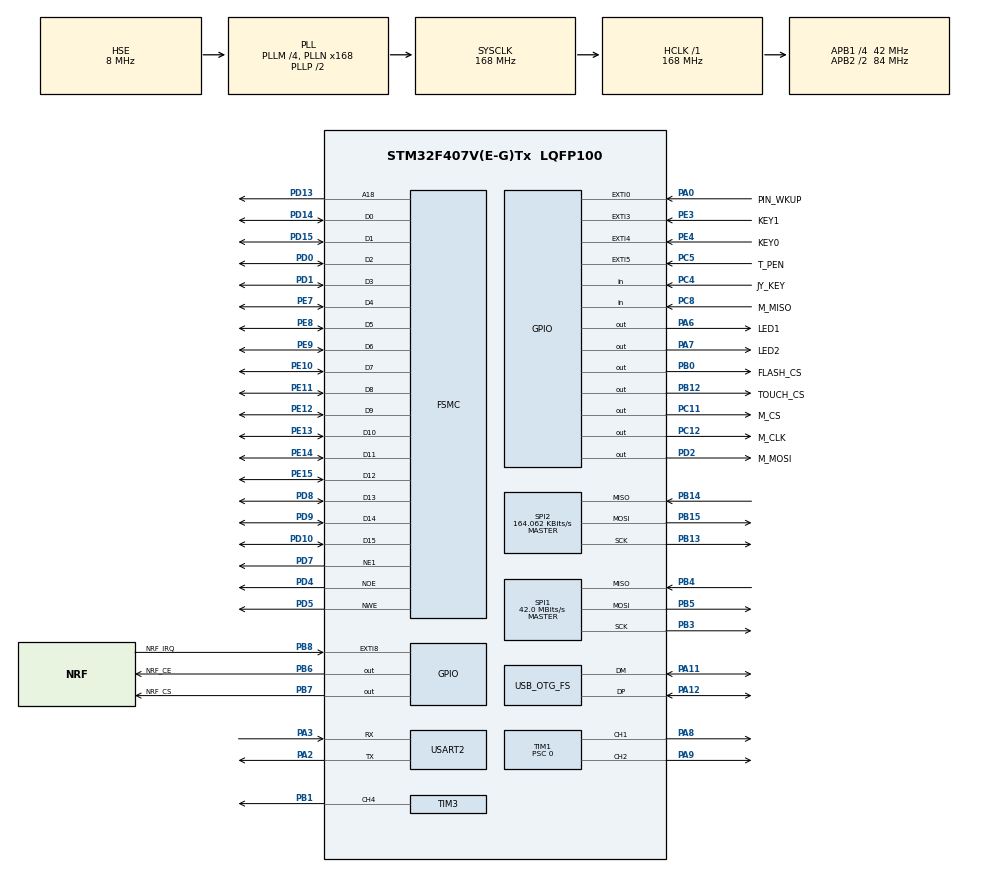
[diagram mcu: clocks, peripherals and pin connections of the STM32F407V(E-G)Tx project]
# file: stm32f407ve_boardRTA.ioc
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Dma.MEMTOMEM.2.Direction=DMA_MEMORY_TO_MEMORY
Dma.MEMTOMEM.2.FIFOMode=DMA_FIFOMODE_ENABLE
Dma.MEMTOMEM.2.FIFOThreshold=DMA_FIFO_THRESHOLD_FULL
Dma.MEMTOMEM.2.Instance=DMA2_Stream3
Dma.MEMTOMEM.2.MemBurst=DMA_MBURST_SINGLE
Dma.MEMTOMEM.2.MemDataAlignment=DMA_MDATAALIGN_HALFWORD
Dma.MEMTOMEM.2.MemInc=DMA_MINC_DISABLE
Dma.MEMTOMEM.2.Mode=DMA_NORMAL
Dma.MEMTOMEM.2.PeriphBurst=DMA_PBURST_SINGLE
Dma.MEMTOMEM.2.PeriphDataAlignment=DMA_PDATAALIGN_HALFWORD
Dma.MEMTOMEM.2.PeriphInc=DMA_PINC_ENABLE
Dma.MEMTOMEM.2.Priority=DMA_PRIORITY_LOW
Dma.MEMTOMEM.3.Direction=DMA_MEMORY_TO_MEMORY
Dma.MEMTOMEM.3.FIFOMode=DMA_FIFOMODE_ENABLE
Dma.MEMTOMEM.3.FIFOThreshold=DMA_FIFO_THRESHOLD_FULL
Dma.MEMTOMEM.3.Instance=DMA2_Stream4
Dma.MEMTOMEM.3.MemBurst=DMA_MBURST_SINGLE
Dma.MEMTOMEM.3.MemDataAlignment=DMA_MDATAALIGN_HALFWORD
Dma.MEMTOMEM.3.MemInc=DMA_MINC_DISABLE
Dma.MEMTOMEM.3.Mode=DMA_NORMAL
Dma.MEMTOMEM.3.PeriphBurst=DMA_PBURST_SINGLE
Dma.MEMTOMEM.3.PeriphDataAlignment=DMA_PDATAALIGN_HALFWORD
Dma.MEMTOMEM.3.PeriphInc=DMA_PINC_DISABLE
Dma.MEMTOMEM.3.Priority=DMA_PRIORITY_LOW
Dma.Request0=TIM1_CH1
Dma.Request1=TIM1_CH2
Dma.Request2=MEMTOMEM
Dma.Request3=MEMTOMEM
Dma.TIM1_CH1.0.Direction=DMA_MEMORY_TO_PERIPH
Dma.TIM1_CH1.0.FIFOMode=DMA_FIFOMODE_ENABLE
Dma.TIM1_CH1.0.FIFOThreshold=DMA_FIFO_THRESHOLD_FULL
Dma.TIM1_CH1.0.Instance=DMA2_Stream1
Dma.TIM1_CH1.0.MemBurst=DMA_MBURST_SINGLE
Dma.TIM1_CH1.0.MemDataAlignment=DMA_MDATAALIGN_HALFWORD
Dma.TIM1_CH1.0.MemInc=DMA_MINC_ENABLE
Dma.TIM1_CH1.0.Mode=DMA_CIRCULAR
Dma.TIM1_CH1.0.PeriphBurst=DMA_PBURST_SINGLE
Dma.TIM1_CH1.0.PeriphDataAlignment=DMA_PDATAALIGN_HALFWORD
Dma.TIM1_CH1.0.PeriphInc=DMA_PINC_DISABLE
Dma.TIM1_CH1.0.Priority=DMA_PRIORITY_HIGH
Dma.TIM1_CH2.1.Direction=DMA_MEMORY_TO_PERIPH
Dma.TIM1_CH2.1.FIFOMode=DMA_FIFOMODE_ENABLE
Dma.TIM1_CH2.1.FIFOThreshold=DMA_FIFO_THRESHOLD_FULL
Dma.TIM1_CH2.1.Instance=DMA2_Stream2
Dma.TIM1_CH2.1.MemBurst=DMA_MBURST_SINGLE
Dma.TIM1_CH2.1.MemDataAlignment=DMA_MDATAALIGN_HALFWORD
Dma.TIM1_CH2.1.MemInc=DMA_MINC_ENABLE
Dma.TIM1_CH2.1.Mode=DMA_CIRCULAR
Dma.TIM1_CH2.1.PeriphBurst=DMA_PBURST_SINGLE
Dma.TIM1_CH2.1.PeriphDataAlignment=DMA_PDATAALIGN_HALFWORD
Dma.TIM1_CH2.1.PeriphInc=DMA_PINC_DISABLE
Dma.TIM1_CH2.1.Priority=DMA_PRIORITY_HIGH
FATFS._FS_EXFAT=0
FATFS._FS_RPATH=1
FATFS._USE_FORWARD=0
FATFS._USE_LFN=3
FSMC.AccessMode1=FSMC_ACCESS_MODE_A
FSMC.AddressSetupTime1=1
FSMC.BusTurnAroundDuration1=0
FSMC.DataSetupTime1=15
FSMC.ExtendedAddressSetupTime1=2
FSMC.ExtendedBusTurnAroundDuration1=0
FSMC.ExtendedDataSetupTime1=5
FSMC.ExtendedMode1=FSMC_EXTENDED_MODE_ENABLE
Mcu.Family=STM32F4
Mcu.Name=STM32F407V(E-G)Tx
Mcu.Package=LQFP100
NVIC.DMA2_Stream1_IRQn=true\:0\:0\:false\:true\:true\:2\:false
NVIC.DMA2_Stream2_IRQn=true\:0\:0\:false\:true\:true\:3\:false
NVIC.EXTI0_IRQn=true\:0\:0\:true\:false\:true\:true
NVIC.EXTI3_IRQn=true\:0\:0\:true\:false\:true\:true
NVIC.EXTI4_IRQn=true\:0\:0\:true\:false\:true\:true
NVIC.EXTI9_5_IRQn=true\:0\:0\:true\:false\:true\:true
NVIC.OTG_FS_IRQn=true\:0\:0\:true\:false\:true\:false
NVIC.PriorityGroup=NVIC_PRIORITYGROUP_4
NVIC.TIM2_IRQn=true\:0\:0\:false\:false\:true\:false
NVIC.TIM3_IRQn=true\:0\:0\:true\:true\:true\:4\:true
NVIC.TimeBase=TIM2_IRQn
NVIC.TimeBaseIP=TIM2
PA0-WKUP.GPIO_Label=PIN_WKUP
PA0-WKUP.GPIO_PuPd=GPIO_PULLDOWN
PA0-WKUP.Signal=GPXTI0
PA11.Mode=Host_Only
PA11.Signal=USB_OTG_FS_DM
PA12.Mode=Host_Only
PA12.Signal=USB_OTG_FS_DP
PA13.Mode=Serial_Wire
PA13.Signal=SYS_JTMS-SWDIO
PA14.Mode=Serial_Wire
PA14.Signal=SYS_JTCK-SWCLK
PA2.Mode=Asynchronous
PA2.Signal=USART2_TX
PA3.Mode=Asynchronous
PA3.Signal=USART2_RX
PA6.GPIO_Label=LED1
PA6.GPIO_ModeDefaultOutputPP=GPIO_MODE_OUTPUT_OD
PA6.Signal=GPIO_Output
PA7.GPIO_Label=LED2
PA7.GPIO_ModeDefaultOutputPP=GPIO_MODE_OUTPUT_OD
PA7.Signal=GPIO_Output
PA8.GPIO_ModeDefaultPP=GPIO_MODE_AF_PP
PA8.GPIO_Speed=GPIO_SPEED_FREQ_HIGH
PA8.Signal=S_TIM1_CH1
PA9.GPIO_ModeDefaultPP=GPIO_MODE_AF_PP
PA9.GPIO_Speed=GPIO_SPEED_FREQ_HIGH
PA9.Signal=S_TIM1_CH2
PB0.GPIO_Label=FLASH_CS
PB0.Signal=GPIO_Output
PB1.Signal=S_TIM3_CH4
PB12.GPIO_Label=TOUCH_CS
PB12.GPIO_Speed=GPIO_SPEED_FREQ_VERY_HIGH
PB12.PinState=GPIO_PIN_SET
PB12.Signal=GPIO_Output
PB13.Mode=Full_Duplex_Master
PB13.Signal=SPI2_SCK
PB14.Mode=Full_Duplex_Master
PB14.Signal=SPI2_MISO
PB15.Mode=Full_Duplex_Master
PB15.Signal=SPI2_MOSI
PB3.Mode=Full_Duplex_Master
PB3.Signal=SPI1_SCK
PB4.Mode=Full_Duplex_Master
PB4.Signal=SPI1_MISO
PB5.Mode=Full_Duplex_Master
PB5.Signal=SPI1_MOSI
PB6.GPIO_Label=NRF_CE
PB6.Signal=GPIO_Output
PB7.GPIO_Label=NRF_CS
PB7.Signal=GPIO_Output
PB8.GPIO_Label=NRF_IRQ
PB8.GPIO_ModeDefaultEXTI=GPIO_MODE_IT_FALLING
PB8.GPIO_PuPd=GPIO_PULLUP
PB8.Signal=GPXTI8
PC11.GPIO_Label=M_CS
PC11.GPIO_Speed=GPIO_SPEED_FREQ_VERY_HIGH
PC11.Signal=GPIO_Output
PC12.GPIO_Label=M_CLK
PC12.GPIO_Speed=GPIO_SPEED_FREQ_VERY_HIGH
PC12.Signal=GPIO_Output
PC14-OSC32_IN.Mode=LSE-External-Oscillator
PC14-OSC32_IN.Signal=RCC_OSC32_IN
PC15-OSC32_OUT.Mode=LSE-External-Oscillator
PC15-OSC32_OUT.Signal=RCC_OSC32_OUT
PC4.GPIO_Label=JY_KEY
PC4.GPIO_PuPd=GPIO_PULLUP
PC4.Signal=GPIO_Input
PC5.GPIO_Label=T_PEN
PC5.GPIO_ModeDefaultEXTI=GPIO_MODE_IT_FALLING
PC5.GPIO_PuPd=GPIO_PULLUP
PC5.Signal=GPXTI5
PC8.GPIO_Label=M_MISO
PC8.Signal=GPIO_Input
PD0.GPIO_Speed_High_Default=GPIO_SPEED_FREQ_HIGH
PD0.Mode=16b-d1
PD0.Signal=FSMC_D2
PD1.GPIO_Speed_High_Default=GPIO_SPEED_FREQ_HIGH
PD1.Mode=16b-d1
PD1.Signal=FSMC_D3
PD10.GPIO_Speed_High_Default=GPIO_SPEED_FREQ_HIGH
PD10.Mode=16b-d1
PD10.Signal=FSMC_D15
PD13.GPIO_Speed_High_Default=GPIO_SPEED_FREQ_HIGH
PD13.Mode=A18_1
PD13.Signal=FSMC_A18
PD14.GPIO_Speed_High_Default=GPIO_SPEED_FREQ_HIGH
PD14.Mode=16b-d1
PD14.Signal=FSMC_D0
PD15.GPIO_Speed_High_Default=GPIO_SPEED_FREQ_HIGH
PD15.Mode=16b-d1
PD15.Signal=FSMC_D1
PD2.GPIO_Label=M_MOSI
PD2.GPIO_Speed=GPIO_SPEED_FREQ_VERY_HIGH
PD2.Signal=GPIO_Output
PD4.GPIO_Speed_High_Default=GPIO_SPEED_FREQ_HIGH
PD4.Mode=Lcd1
PD4.Signal=FSMC_NOE
PD5.GPIO_Speed_High_Default=GPIO_SPEED_FREQ_HIGH
PD5.Mode=Lcd1
PD5.Signal=FSMC_NWE
PD7.GPIO_Speed_High_Default=GPIO_SPEED_FREQ_HIGH
PD7.Mode=NorPsramChipSelect1_1
PD7.Signal=FSMC_NE1
PD8.GPIO_Speed_High_Default=GPIO_SPEED_FREQ_HIGH
PD8.Mode=16b-d1
PD8.Signal=FSMC_D13
PD9.GPIO_Speed_High_Default=GPIO_SPEED_FREQ_HIGH
PD9.Mode=16b-d1
PD9.Signal=FSMC_D14
PE10.GPIO_Speed_High_Default=GPIO_SPEED_FREQ_HIGH
PE10.Mode=16b-d1
PE10.Signal=FSMC_D7
PE11.GPIO_Speed_High_Default=GPIO_SPEED_FREQ_HIGH
PE11.Mode=16b-d1
PE11.Signal=FSMC_D8
PE12.GPIO_Speed_High_Default=GPIO_SPEED_FREQ_HIGH
PE12.Mode=16b-d1
PE12.Signal=FSMC_D9
PE13.GPIO_Speed_High_Default=GPIO_SPEED_FREQ_HIGH
PE13.Mode=16b-d1
PE13.Signal=FSMC_D10
PE14.GPIO_Speed_High_Default=GPIO_SPEED_FREQ_HIGH
PE14.Mode=16b-d1
PE14.Signal=FSMC_D11
PE15.GPIO_Speed_High_Default=GPIO_SPEED_FREQ_HIGH
PE15.Mode=16b-d1
PE15.Signal=FSMC_D12
PE3.GPIO_Label=KEY1
PE3.GPIO_ModeDefaultEXTI=GPIO_MODE_IT_FALLING
PE3.GPIO_PuPd=GPIO_PULLUP
PE3.Signal=GPXTI3
PE4.GPIO_Label=KEY0
PE4.GPIO_ModeDefaultEXTI=GPIO_MODE_IT_FALLING
PE4.GPIO_PuPd=GPIO_PULLUP
PE4.Signal=GPXTI4
PE7.GPIO_Speed_High_Default=GPIO_SPEED_FREQ_HIGH
PE7.Mode=16b-d1
PE7.Signal=FSMC_D4
PE8.GPIO_Speed_High_Default=GPIO_SPEED_FREQ_HIGH
PE8.Mode=16b-d1
PE8.Signal=FSMC_D5
PE9.GPIO_Speed_High_Default=GPIO_SPEED_FREQ_HIGH
PE9.Mode=16b-d1
PE9.Signal=FSMC_D6
PH0-OSC_IN.Mode=HSE-External-Oscillator
PH0-OSC_IN.Signal=RCC_OSC_IN
PH1-OSC_OUT.Mode=HSE-External-Oscillator
PH1-OSC_OUT.Signal=RCC_OSC_OUT
ProjectManager.HeapSize=0x200
ProjectManager.StackSize=0x400
ProjectManager.TargetToolchain=SW4STM32
RCC.48MHZClocksFreq_Value=48000000
RCC.AHBFreq_Value=168000000
RCC.APB1CLKDivider=RCC_HCLK_DIV4
RCC.APB1Freq_Value=42000000
RCC.APB1TimFreq_Value=84000000
RCC.APB2CLKDivider=RCC_HCLK_DIV2
RCC.APB2Freq_Value=84000000
RCC.APB2TimFreq_Value=168000000
RCC.CortexFreq_Value=168000000
RCC.HCLKFreq_Value=168000000
RCC.HSE_VALUE=8000000
RCC.HSI_VALUE=16000000
RCC.PLLM=4
RCC.PLLN=168
RCC.PLLQ=7
RCC.RCC_RTC_Clock_Source=RCC_RTCCLKSOURCE_LSE
RCC.RCC_RTC_Clock_SourceVirtual=RCC_RTCCLKSOURCE_LSE
RCC.SYSCLKFreq_VALUE=168000000
RCC.SYSCLKSource=RCC_SYSCLKSOURCE_PLLCLK
RCC.VCOOutputFreq_Value=336000000
SH.S_TIM1_CH1.0=TIM1_CH1,PWM Generation1 CH1
SH.S_TIM1_CH2.0=TIM1_CH2,PWM Generation2 CH2
SH.S_TIM3_CH4.0=TIM3_CH4,PWM Generation4 CH4
SPI1.CalculateBaudRate=42.0 MBits/s
SPI1.Direction=SPI_DIRECTION_2LINES
SPI1.Mode=SPI_MODE_MASTER
SPI1.VirtualType=VM_MASTER
SPI2.BaudRatePrescaler=SPI_BAUDRATEPRESCALER_256
SPI2.CalculateBaudRate=164.062 KBits/s
SPI2.Direction=SPI_DIRECTION_2LINES
SPI2.Mode=SPI_MODE_MASTER
SPI2.VirtualType=VM_MASTER
TIM1.Channel-PWM\ Generation1\ CH1=TIM_CHANNEL_1
TIM1.Channel-PWM\ Generation2\ CH2=TIM_CHANNEL_2
TIM1.Period=3809
TIM1.Prescaler=0
TIM3.Channel-PWM\ Generation4\ CH4=TIM_CHANNEL_4
TIM3.Period=1000-1
TIM3.Prescaler=84-1
TIM3.Pulse-PWM\ Generation4\ CH4=500-1
USART2.VirtualMode=VM_ASYNC
USB_HOST.USBH_DEBUG_LEVEL-HID_FS=3
USB_HOST.USBH_HandleTypeDef-HID_FS=hUsbHostFS
USB_HOST.VirtualModeFS=Hid
USB_OTG_FS.VirtualMode=Host_Only
USB_OTG_FS.phy_itface=HCD_PHY_EMBEDDED
VP_FATFS_VS_Generic.Mode=User_defined
VP_RTC_VS_RTC_Activate.Mode=RTC_Enabled
VP_RTC_VS_RTC_Calendar.Mode=RTC_Calendar
VP_SYS_VS_tim2.Mode=TIM2
VP_TIM1_VS_ClockSourceINT.Mode=Internal
VP_TIM3_VS_ClockSourceINT.Mode=Internal
VP_USB_HOST_VS_USB_HOST_HID_FS.Mode=HID_FS
board=stm32f407ve_board

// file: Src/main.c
/* USER CODE BEGIN Header */
/**
  ******************************************************************************
  * @file           : main.c
  * @brief          : Main program body
  ******************************************************************************
  * This notice applies to any and all portions of this file
  * that are not between comment pairs USER CODE BEGIN and
  * USER CODE END. Other portions of this file, whether
  * inserted by the user or by software development tools
  * are owned by their respective copyright owners.
  *
  * Copyright (c) 2020 STMicroelectronics International N.V.
  * All rights reserved.
  *
  * Redistribution and use in source and binary forms, with or without
  * modification, are permitted, provided that the following conditions are met:
  *
  * 1. Redistribution of source code must retain the above copyright notice,
  *    this list of conditions and the following disclaimer.
  * 2. Redistributions in binary form must reproduce the above copyright notice,
  *    this list of conditions and the following disclaimer in the documentation
  *    and/or other materials provided with the distribution.
  * 3. Neither the name of STMicroelectronics nor the names of other
  *    contributors to this software may be used to endorse or promote products
  *    derived from this software without specific written permission.
  * 4. This software, including modifications and/or derivative works of this
  *    software, must execute solely and exclusively on microcontroller or
  *    microprocessor devices manufactured by or for STMicroelectronics.
  * 5. Redistribution and use of this software other than as permitted under
  *    this license is void and will automatically terminate your rights under
  *    this license.
  *
  * THIS SOFTWARE IS PROVIDED BY STMICROELECTRONICS AND CONTRIBUTORS "AS IS"
  * AND ANY EXPRESS, IMPLIED OR STATUTORY WARRANTIES, INCLUDING, BUT NOT
  * LIMITED TO, THE IMPLIED WARRANTIES OF MERCHANTABILITY, FITNESS FOR A
  * PARTICULAR PURPOSE AND NON-INFRINGEMENT OF THIRD PARTY INTELLECTUAL PROPERTY
  * RIGHTS ARE DISCLAIMED TO THE FULLEST EXTENT PERMITTED BY LAW. IN NO EVENT
  * SHALL STMICROELECTRONICS OR CONTRIBUTORS BE LIABLE FOR ANY DIRECT, INDIRECT,
  * INCIDENTAL, SPECIAL, EXEMPLARY, OR CONSEQUENTIAL DAMAGES (INCLUDING, BUT NOT
  * LIMITED TO, PROCUREMENT OF SUBSTITUTE GOODS OR SERVICES; LOSS OF USE, DATA,
  * OR PROFITS; OR BUSINESS INTERRUPTION) HOWEVER CAUSED AND ON ANY THEORY OF
  * LIABILITY, WHETHER IN CONTRACT, STRICT LIABILITY, OR TORT (INCLUDING
  * NEGLIGENCE OR OTHERWISE) ARISING IN ANY WAY OUT OF THE USE OF THIS SOFTWARE,
  * EVEN IF ADVISED OF THE POSSIBILITY OF SUCH DAMAGE.
  *
  ******************************************************************************
  */
/* USER CODE END Header */

#include "main.h"
#include "fatfs.h"
#include "usb_host.h"

/* USER CODE BEGIN Includes */
#include <stdio.h>
#include <stdarg.h>
#include <string.h>
#include <math.h>
#include "ili9341.h"
#include "tm_stm32f1_nrf24l01.h"
#include <ctype.h>
#include "stm32_adafruit_sd.h"
/* USER CODE END Includes */

RTC_HandleTypeDef hrtc;

SPI_HandleTypeDef hspi1;
SPI_HandleTypeDef hspi2;

TIM_HandleTypeDef htim3;

UART_HandleTypeDef huart2;

DMA_HandleTypeDef hdma_memtomem_dma2_stream3;
DMA_HandleTypeDef hdma_memtomem_dma2_stream4;
SRAM_HandleTypeDef hsram1;

/* USER CODE BEGIN PV */
void retarget_put_char(char p)
{
	HAL_UART_Transmit(&huart2, &p, 1, 0xffffff); // send message via UART
}
int _write(int fd, char* ptr, int len)
{
    (void)fd;
    int i = 0;
    while (ptr[i] && (i < len))
    {
    	if (ptr[i] == '\r')
    	{

    	}
    	else
    	{
			retarget_put_char((int)ptr[i]);
			if (ptr[i] == '\n')
			{
				retarget_put_char((int)'\r');
			}
    	}
        i++;
    }
    return len;
}
void init_Sinclair();
#define N_SIZE_BITS (10)
#define N_SIZE (1<<N_SIZE_BITS)
#define R_SIZE_BITS (12)
#define R_SIZE (1<<R_SIZE_BITS)

//uint16_t VoiceBuff0s[N_SIZE];

uint16_t VoiceBuff0[N_SIZE];
uint16_t VoiceBuff1[N_SIZE];

uint16_t VoiceBuff0T[R_SIZE];
uint16_t VoiceBuff1T[R_SIZE];

volatile int sound_head = 0;
volatile int sound_tail = 0;

int sound_size()
{
	return (sound_head+R_SIZE-sound_tail)&(R_SIZE-1);
}

static TIM_HandleTypeDef TimMasterHandle;
int volume = 100;
int getVolume0()
{
	return volume;
}
void setVolume0(int vol)
{
	volume = vol;
}
int waitFor()
{
	int cntWait = 0;
	//TimMasterHandle.Instance = TIM2;
	while(((sound_head+R_SIZE-sound_tail)&(R_SIZE-1))>R_SIZE/2)
	{
		procKeyb();
		    // Disable HAL tick interrupt
		   // __HAL_TIM_DISABLE_IT(&TimMasterHandle, TIM_IT_CC2);

		    // Request to enter SLEEP mode
		    //HAL_PWR_EnterSLEEPMode(PWR_MAINREGULATOR_ON, PWR_SLEEPENTRY_WFI);

		    // Enable HAL tick interrupt
		    //__HAL_TIM_ENABLE_IT(&TimMasterHandle, TIM_IT_CC2);
				//HAL_PWR_EnterSLEEPMode(PWR_MAINREGULATOR_ON, PWR_SLEEPENTRY_WFI);
		//HAL_Delay(1);
		cntWait++;
	}
	return cntWait;
}
void push_pair(uint16_t Left,uint16_t Right)
{
	waitFor();
	VoiceBuff0T[sound_head] = Left;
	VoiceBuff1T[sound_head] = Right;
	sound_head = (sound_head+1)&(R_SIZE-1);
}
void cleanAudioBuffer()
{
	waitFor();
	for(int k=0;k<R_SIZE;k++)
	{
#ifdef DAC_OUTPUT
			push_pair(2048,2048);
#else
			push_pair(MAX_VOLUME/2,MAX_VOLUME/2);
#endif
	}
}

void TIM1_TC1()
{
	//cnt0++;
	int k;
	for(k=N_SIZE/2;k<N_SIZE;k++)
	{
		VoiceBuff0[k] = VoiceBuff0T[sound_tail];
		VoiceBuff1[k] = VoiceBuff1T[sound_tail];
		sound_tail = (sound_tail+1)&(R_SIZE-1);
	}
}
void TIM1_HT1()
{
	//cnt1++;
	int k;
	for(k=0;k<N_SIZE/2;k++)
	{
		VoiceBuff0[k] = VoiceBuff0T[sound_tail];
		VoiceBuff1[k] = VoiceBuff1T[sound_tail];
		sound_tail = (sound_tail+1)&(R_SIZE-1);
	}
}
void TIM1_TE1()
{
}
void TIM1_TC2()
{
}
void TIM1_HT2()
{
}
void TIM1_TE2()
{
}
void setBK_imp(int perc)
{
	__HAL_TIM_SET_COMPARE(&htim3, TIM_CHANNEL_4,(perc*10));
}

void init_timerLL()
{
	  LL_AHB1_GRP1_EnableClock(LL_AHB1_GRP1_PERIPH_DMA2);
	  LL_DMA_ConfigAddresses(DMA2, LL_DMA_STREAM_1, (uint32_t)&VoiceBuff0[0], (uint32_t)&TIM1->CCR1, LL_DMA_GetDataTransferDirection(DMA2, LL_DMA_STREAM_2));
	  LL_DMA_SetDataLength(DMA2, LL_DMA_STREAM_1, N_SIZE);
	  LL_DMA_EnableIT_TC(DMA2, LL_DMA_STREAM_1);
	  LL_DMA_EnableIT_TE(DMA2, LL_DMA_STREAM_1);
	  LL_DMA_EnableIT_HT(DMA2, LL_DMA_STREAM_1);

	  LL_DMA_ConfigAddresses(DMA2, LL_DMA_STREAM_2, (uint32_t)&VoiceBuff1[0], (uint32_t)&TIM1->CCR2, LL_DMA_GetDataTransferDirection(DMA2, LL_DMA_STREAM_2));
	  LL_DMA_SetDataLength(DMA2, LL_DMA_STREAM_2, N_SIZE);
	  LL_DMA_EnableIT_TC(DMA2, LL_DMA_STREAM_2);
	  LL_DMA_EnableIT_HT(DMA2, LL_DMA_STREAM_2);
	  LL_DMA_EnableIT_TE(DMA2, LL_DMA_STREAM_2);

	  /***************************/
	  /* Enable the DMA transfer */
	  /***************************/
	  LL_DMA_EnableStream(DMA2, LL_DMA_STREAM_1);
	  LL_DMA_EnableStream(DMA2, LL_DMA_STREAM_2);

	  LL_TIM_EnableDMAReq_UPDATE(TIM1);

	  LL_TIM_EnableDMAReq_CC1(TIM1);
	  LL_TIM_EnableDMAReq_CC2(TIM1);

	  LL_TIM_CC_EnableChannel(TIM1, LL_TIM_CHANNEL_CH1);
	  LL_TIM_CC_EnableChannel(TIM1, LL_TIM_CHANNEL_CH2);

	  LL_TIM_OC_EnablePreload(TIM1, LL_TIM_CHANNEL_CH1);
	  LL_TIM_OC_EnablePreload(TIM1, LL_TIM_CHANNEL_CH2);

	 // LL_TIM_OC_SetCompareCH3(TIM1,MAX_VOLUME*volume_perc/1000);

	  LL_TIM_EnableAllOutputs(TIM1);
	  LL_TIM_EnableCounter(TIM1);
	  //~ LL_TIM_EnableDMAReq_CC1(TIM2);
	 // LL_TIM_GenerateEvent_CC1(TIM4);
	 // LL_TIM_GenerateEvent_CC2(TIM4);

	  //~ LL_TIM_GenerateEvent_CC2(TIM2);
	  //~ LL_TIM_GenerateEvent_CC2(TIM2);
	  LL_TIM_GenerateEvent_UPDATE(TIM1);
//		LL_TIM_EnableCounter(TIM2);
//		LL_TIM_EnableAllOutputs(TIM2);

}

#define  SPI2_TIMEOUT 10
void SPI2_SEND(uint8_t* data,int count)
{
	HAL_SPI_Transmit(&hspi2,data,count,SPI2_TIMEOUT);
}
void SPI2_SEND_RECI(uint8_t* data,int count,uint8_t* in_data)
{
	HAL_SPI_TransmitReceive(&hspi2,data,in_data,count,SPI2_TIMEOUT);
}

volatile uint16_t keyMatrix  = 0;

//typedef void (*SignalHandler)(int signum);
typedef int  (*dispathFunction)(struct SYS_EVENT* ev);
#include "usbh_def.h"
#include "usbh_hid.h"
#include "usbh_hid_keybd.h"

extern uint8_t usb_mode;
extern USBH_HandleTypeDef hUsbHostFS;
uint8_t kstate = 0;

int dummyFunction(struct SYS_EVENT* ev)
{
	printf("dummy mess   = %x\r\n",ev->message);
	printf("dummy param1 = %x\r\n",ev->param1);
	printf("dummy param2 = %x\r\n",ev->param2);
	return 0;
}

void clearKey()
{
	keyMatrix = 0;
}

dispathFunction currFunc = &dummyFunction;
#define stackFuncSize 16
dispathFunction stackFunc[stackFuncSize];

int stackFuncP = 0;

void pushMenuFunc(void*fnk)
{
	if(stackFuncP<stackFuncSize-2)
	{
		stackFunc[stackFuncP] = fnk;
		stackFuncP++;
	}
}

dispathFunction popMenuFunc()
{
	if(stackFuncP>0)
	{
		stackFuncP--;
	}
	currFunc = stackFunc[stackFuncP];
	return currFunc;
}

void setCurrentFunc(void*fnk)
{
	pushMenuFunc(currFunc);
	currFunc = fnk;
}

/* USER CODE END PV */

void SystemClock_Config(void);
static void MX_GPIO_Init(void);
static void MX_DMA_Init(void);
static void MX_RTC_Init(void);
static void MX_SPI1_Init(void);
static void MX_FSMC_Init(void);
static void MX_SPI2_Init(void);
static void MX_TIM1_Init(void);
static void MX_USART2_UART_Init(void);
static void MX_TIM3_Init(void);
static void MX_NVIC_Init(void);
void MX_USB_HOST_Process(void);

/* USER CODE BEGIN 0 */
int bFlagCPM = 0;
int bNoDisk  = 0;
extern uint8_t  SD_BUFF[];
#include "z80.h"
extern int32_t tstates;
extern int32_t interrupts_enabled_at;
void rput(uint8_t data);
int capsFl = 9;
void init_Sinclair();
int menu_dispatch(struct SYS_EVENT* ev);
int z48_z128_dispatch(struct SYS_EVENT* ev);
//uint8_t kbs[256];
HID_KEYBD_Info_TypeDef prev_state_s;
void setTapeSpeed(int ts);
void kscan0()
{
	MX_USB_HOST_Process();
	kscan1();
}
volatile int bReady =1;
void kscan1()
{
    	if(usb_mode==HOST_USER_CLASS_ACTIVE)
    	{
			if(capsFl == 9)
			{
				kstate = 0x80;
				capsFl = 0;
			}
    		HID_KEYBD_Info_TypeDef * ki=USBH_HID_GetKeybdInfo(&hUsbHostFS);
    		//int reps = 1;
    		//while(ki && reps>0)
    		if(ki)
    		{
    			//reps --;
				prev_state_s = *ki;
#if 0
				printf("%d %d %d %x : %x %x %x %x %x%x%x%x%x%x%x%x\n",
												delta0,
												delta1,
												delta2,
												ki->state,
												ki->keys[0],
												ki->keys[1],
												ki->keys[2],
												ki->keys[3],
												ki->lctrl,
												ki->lshift,
												ki->lalt,
												ki->lgui,
												ki->rctrl,
												ki->rshift,
												ki->ralt,
												ki->rgui);

				char c = USBH_HID_GetASCIICode(ki);
				printf("%x : %x %x %x %x %x%x%x%x%x%x%x%x\n",
												ki->state,
												ki->keys[0],
												ki->keys[1],
												ki->keys[2],
												ki->keys[3],
												ki->lctrl,
												ki->lshift,
												ki->lalt,
												ki->lgui,
												ki->rctrl,
												ki->rshift,
												ki->ralt,
												ki->rgui);
#endif
				if(bFlagCPM)
				{
					char c = USBH_HID_GetASCIICode(ki);
					if (c==0)
					{
						bReady = 1;
						if(ki->keys[0]==KEY_ESCAPE)
						{
							    printf("KEY_ESCAPE\n");
								rput(0x1b);
						}
						else if(ki->keys[0]==KEY_DELETE)
						{
							   printf("KEY_DELETE\n");
								rput(0x7f);
						}
						else
						{
							if(ki->keys[0])
							printf("press = %x\n",ki->keys[0]);
						}
						return;
				     }
					if(!bReady) return;
					bReady = 0;
					//if(c)
						//rput(c);
					printf("Key = %x %x\n",c,ki->keys[0]);

					if(c=='\n')
					{
						     //printf("%x %x \n",'\n','\r');
						     // \n -0xa NL line feed
						     // \r -0xd CR

							//rput('\n');
							rput('\r');
							//http://www.asciitable.com/
					}
					else if (c==0xa && ki->keys[0]==KEY_BACKSPACE)
					{
							rput(0x8);
					}
					else
					{
#define CTRL_A  1
#define CTRL_S  0x13
#define CTRL_D  0x4
#define CTRL_F  0x6
#define CTRL_G  0x7

#define CTRL_H   0x8
#define BSPACE   0x8

#define CTRL_J  0xA
#define CTRL_K  0xB
#define CTRL_L  0xC
#define CTRL_Q  0x11
#define CTRL_W  0x17
#define CTRL_E  0x5
#define CTRL_R  0x12
#define CTRL_T  0x14
#define CTRL_Y  0x19
#define CTRL_U  0x15
#define CTRL_I  0x9
#define CTRL_O  0xf
#define CTRL_P  0x10

#define CTRL_Z  0x1a
#define CTRL_X  0x18
#define CTRL_C  0x03
#define CTRL_V  0x16
#define CTRL_B  0x02
#define CTRL_N  0x0e
#define CTRL_M  0xd

						if(ki->lctrl || ki->rctrl)
						{
								if(c=='a') 		{rput(CTRL_A);}
								else if(c=='s')	{rput(CTRL_S);}
								else if(c=='d')	{rput(CTRL_D);}
								else if(c=='f')	{rput(CTRL_F);}
								else if(c=='g')	{rput(CTRL_G);}
								else if(c=='h')	{rput(CTRL_H);}
								else if(c=='j')	{rput(CTRL_J);}
								else if(c=='k')	{rput(CTRL_K);}
								else if(c=='l')	{rput(CTRL_L);}

								else if(c=='q')	{rput(CTRL_Q);}
								else if(c=='w')	{rput(CTRL_W);}
								else if(c=='e')	{rput(CTRL_E);}
								else if(c=='r')	{rput(CTRL_R);}
								else if(c=='t')	{rput(CTRL_T);}
								else if(c=='y')	{rput(CTRL_Y);}
								else if(c=='u')	{rput(CTRL_U);}
								else if(c=='i')	{rput(CTRL_I);}
								else if(c=='o')	{rput(CTRL_O);}
								else if(c=='p')	{rput(CTRL_P);}

								else if(c=='z')	{rput(CTRL_Z);}
								else if(c=='x')	{rput(CTRL_X);}
								else if(c=='c')	{rput(CTRL_C);}
								else if(c=='v')	{rput(CTRL_V);}
								else if(c=='b')	{rput(CTRL_B);}
								else if(c=='n')	{rput(CTRL_N);}
								else if(c=='m')	{rput(CTRL_M);}
						}
						else
						{
							if(c)      rput(c) ;
						}
					}
				}
				else
				{
					for(int k=0;k<1;k++)
					{
						switch(ki->keys[k])
						{
							case  KEY_RIGHTARROW: 	keyMatrix = K_RIGHT;break;
							case  KEY_LEFTARROW: 	keyMatrix = K_LEFT;break;
							case  KEY_DOWNARROW: 	keyMatrix = K_DOWN;break;
							case  KEY_UPARROW: 		keyMatrix = K_UP;break;
							case  KEY_F10: 			setTapeSpeed(0);break;
							case  KEY_F11: 			setTapeSpeed(1);break;
							case  KEY_F12: 			setTapeSpeed(2);break;

							case  0x0:  			keyMatrix = 0;break;
							case  KEY_ENTER:  		keyMatrix = K_FIRE;break;//enterbreak;
							case  KEY_SPACEBAR: 	keyMatrix = K_SPACE;break;
							case  KEY_ESCAPE:		keyMatrix = K_ESC;break;
							case  KEY_F7:  			setScreenOffset(0);break;
							case  KEY_F8:  			setScreenOffset(1);break;
							case  KEY_F9:  			setScreenOffset(2);break;
							case  KEY_F6:
											initRam();
											ay_reset();
											z80_reset(1);
											SKEY_QUE_init();
											setScreenOffset(0);
										break;
						};
					}
				}
				if(ki->keys[0]==0x39)
				{
					if(capsFl&2)
					{
						capsFl&=~2;
					}
					else
					{
						capsFl|=2;
					}
					kstate = 0x80 | capsFl;
				}
				if(ki->keys[0]==0x53)
				{
					if(capsFl&1)
					{
						capsFl&=~1;
					}
					else
					{
						capsFl|=1;
					}
					kstate = 0x80 | capsFl;
				}
				if(ki->keys[0]==0x47)
				{
					if(capsFl&4)
					{
						capsFl&=~4;
					}
					else
					{
						capsFl|=4;
					}
					kstate = 0x80 | capsFl;
				}
			//	ki = USBH_HID_GetKeybdInfo(&hUsbHostFS);
		}
		if(kstate&0x80)
		{
			    printf("Go set state %x\n",kstate);
		    	kstate &= 0x7f;
		    	int tmOut = 1000;
		    	while(tmOut>0&&USBH_HID_SetReport(&hUsbHostFS,0x2,0,&kstate,1)!=USBH_OK)
		    	{
		    		tmOut--;
		    	};
		    	printf("state tm %x\n",tmOut);
		}
	}
	else
	{
		  capsFl = 9;
	}
}
/* USER CODE END 0 */

int main(void)
{

  /* MCU Configuration--------------------------------------------------------*/

  /* Reset of all peripherals, Initializes the Flash interface and the Systick. */
  HAL_Init();

  /* Configure the system clock */
  SystemClock_Config();

  /* USER CODE BEGIN SysInit */
  __HAL_RCC_PWR_CLK_ENABLE();
  //__HAL_RCC_BKP_CLK_ENABLE();
  HAL_PWR_EnableBkUpAccess();

  /* USER CODE END SysInit */

  /* Initialize all configured peripherals */
  MX_GPIO_Init();
  MX_DMA_Init();
  MX_RTC_Init();
  MX_SPI1_Init();
  MX_FATFS_Init();
  MX_FSMC_Init();
  MX_SPI2_Init();
  MX_TIM1_Init();
  MX_USART2_UART_Init();
  MX_TIM3_Init();
  MX_USB_HOST_Init();

  /* Initialize interrupts */
  MX_NVIC_Init();
  /* USER CODE BEGIN 2 */
  //HAL_Delay(1);
    rclear();
    printf("\n\n\n Program Start\n");
    printf("HAL_RCC_GetHCLKFreq = %d\n",HAL_RCC_GetHCLKFreq());
    printf("HAL_RCC_GetPCLK1Freq = %d\n",HAL_RCC_GetPCLK1Freq());
	if(HAL_TIM_PWM_Start_IT(&htim3, TIM_CHANNEL_4)!= HAL_OK)
	{
		printf("set TIM1 TIM_CHANNEL_3 error\r\n");
	}
	setBK_imp(0);
	//memset(&ADC_BUFF[0],0,sizeof(ADC_BUFF));
	//HAL_ADC_Start_DMA(&hadc1, (uint32_t*)ADC_BUFF, HSAMPLES*NCHAN);
	init_timerLL();
	LCD_init();
	//ili9341_DisplayOn();
	LCD_setRotation(LANDSCAPE_FLIP);
	uint32_t trt = HAL_GetTick();
	int k;
	setBK_imp(100);
	for(k=0;k<2;k++)
	{
		LCD_fillRect(0, 0, LCD_getWidth(), LCD_getHeight(), BLACK);
		LCD_fillRect(0, 0, LCD_getWidth(), LCD_getHeight(), WHITE);
	}
	//TP_init_default();
	//setBK_imp(99);
	printf("clear screen %d ms\r\n",(HAL_GetTick()-trt)/4);
	LCD_fillRect(0, 0, LCD_getWidth(), LCD_getHeight(), BLACK);

	Delay(1);
	//SD_initialize(0);
	uint8_t sd_state= BSP_SD_Init();
	printf("sd_state = %x\n",sd_state);

	BSP_SD_CardInfo CardInfo;
	BSP_SD_GetCardInfo(&CardInfo);
   printf("hsd.CardCapacity =%d\n",CardInfo.CardCapacity);
   //printf("hsd.SdCard.BlockNbr=%d\n",hsd.SdCard.BlockNbr);
   //printf("hsd.SdCard.BlockSize=%d\n",hsd.SdCard.BlockSize);
   //printf("hsd.SdCard.CardType=%d\n",hsd.SdCard.CardType);
   //printf("hsd.SdCard.CardVersion=%d\n",hsd.SdCard.CardVersion);
   //printf("hsd.SdCard.Class=%d\n",hsd.SdCard.Class);
   printf("hsd.CardBlockSize =%d\n",CardInfo.CardBlockSize);
   printf("hsd.SdCard.LogBlockNbr=%d\n",CardInfo.LogBlockNbr);
   printf("hsd.SdCard.LogBlockSize=%d\n",CardInfo.LogBlockSize);
   uint64_t size_k = CardInfo.LogBlockNbr;
   size_k = size_k*CardInfo.LogBlockSize;

   printf("CardInfo size %d MB\n",(int)(size_k/1024/1024));

	Delay(1);
	int SD_TIMEOUT = 1000;
	  {
		  int32_t tk = HAL_GetTick();
		  int stat = 0;
		  int kk;
		  for(kk=0;(kk<8)&&!stat;kk++)
		  {
	  			stat = BSP_SD_ReadBlocks(SD_BUFF,kk,1, SD_TIMEOUT);
		  }
		  tk = HAL_GetTick()-tk;
		  Delay(1);
		  stat = BSP_SD_ReadBlocks(SD_BUFF,0,1, SD_TIMEOUT);
		  if(!stat)
		  {
			  bNoDisk = 0;
		  }
		  else
		  {
			  bNoDisk = 1;
		  }
		  printf("Read %d blocks (bytes = %d) in %d ms st = %d\n",kk,kk*512,tk,stat);
		  for(int k=0;k<4;k++)
		  {
			  if(isalnum(SD_BUFF[k]))
			  {
				  printf("\n%02x %c",k,SD_BUFF[k]);
			  }
			  else
			  {
				  printf("\n%02x %02x",k,SD_BUFF[k]);
			  }
		  }
		  printf("\nEndPrint\n");
		  bFlagCPM = 0;
		  // cpm   ?      	 //0xc3 0x5c 0xd3 0xc3
		  // formated part ? //0xfa 0xb8 0x00 0x10
		  if(SD_BUFF[0]==0xc3 && SD_BUFF[1]==0x5c)
		  {
			  bFlagCPM = 1;
		  }
		  cleanAudioBuffer();
		//  paint();
	  }
	volatile struct SYS_EVENT event;
	event.message = MESS_OPEN;
	event.param1  = 0x1234;
	event.param2  = 0x5678;
	  if(bFlagCPM)
	  {
		  init_cpm();
		  z80_reset(1);
	  }
	  else
	  {
		init_Sinclair();
		if(bNoDisk)
		{
				LCD_fillRect(0, 0, LCD_getWidth(), LCD_getHeight(), BLACK);
				setModeFile(1);
				setCurrentFunc(&z48_z128_dispatch);
		}
		else
		{
				setCurrentFunc(&menu_dispatch);
		}
	  }
//	int nrfOnline = nRF24_Check();
//	sprintf(numBuff,"nrfOnline %d\r\n",nrfOnline);
//	mprintf(numBuff);
//	LCD_Draw_Text(numBuff,100,100, GREEN, 1,BLACK);
//	nrfOnline = nRF24_Check();
//	sprintf(numBuff,"nrfOnline %d\r\n",nrfOnline);
//	mprintf(numBuff);
//	LCD_Draw_Text(numBuff,100,100, GREEN, 1,BLACK);
	//clearFullScreen();
	//readCard1();
	//stackFunc[0] = ;
	//currFunc = &menu_dispatch;
	  uint32_t prevtk =  HAL_GetTick()+20;
  /* USER CODE END 2 */

  /* Infinite loop */
  /* USER CODE BEGIN WHILE */
  while (1)
  {
#if 1
	  if(bFlagCPM)
	  {
			tstates               = 0;
			uint32_t tk = HAL_GetTick()-prevtk;
			if(!(tk&0x80000000U))
			{
			  prevtk += 20;
			}
			for(int tt = 0;tt<70908;tt+=1000)
			{
				z80_run(tt);
				procKeyb();
			}
			z80_run(70908);

			paint();
			screen_IRQ = 1;
			//interrupts_enabled_at = 5;
	  }
	  else
	  {
		  //mprintf("cnt t3 %d %x %x %x\r\n ",tim3_intrr,keyMatrix,TIM3->CNT,TIM1->CNT);
		  if(keyMatrix&&(event.message==MESS_IDLE))
		  {
			  event.param1 = keyMatrix;
				  event.param2 = HAL_GetTick();
			  event.message = MESS_KEYBOARD;
			  //printf("cnt t3 %d %x %x %x %x %x\r\n ",tim3_intrr,keyMatrix,TIM3->CNT,TIM1->CNT,ADC_BUFF[0].V_REF,ADC_BUFF[0].V_LR);
		  }
		  else
		  {
			  HAL_GPIO_TogglePin(LED1_GPIO_Port, LED1_Pin);
		  }
		  (*currFunc)(&event);
		  if(event.message==MESS_CLOSE)
		  {
			event.message = MESS_REPAINT;
			printf("stackFuncP B =%d\r\n",stackFuncP);
			popMenuFunc();
			printf("stackFuncP A b=%d\r\n",stackFuncP);
			//currFunc = &menu_dispatch;
		  }
	  }
#endif
	  //HAL_Delay(100);
    /* USER CODE END WHILE */
    MX_USB_HOST_Process();

    /* USER CODE BEGIN 3 */
    kscan1();
  }
  /* USER CODE END 3 */
}

void SystemClock_Config(void)
{
  RCC_OscInitTypeDef RCC_OscInitStruct = {0};
  RCC_ClkInitTypeDef RCC_ClkInitStruct = {0};
  RCC_PeriphCLKInitTypeDef PeriphClkInitStruct = {0};

  /**Configure the main internal regulator output voltage
  */
  __HAL_RCC_PWR_CLK_ENABLE();
  __HAL_PWR_VOLTAGESCALING_CONFIG(PWR_REGULATOR_VOLTAGE_SCALE1);
  /**Initializes the CPU, AHB and APB busses clocks
  */
  RCC_OscInitStruct.OscillatorType = RCC_OSCILLATORTYPE_HSE|RCC_OSCILLATORTYPE_LSE;
  RCC_OscInitStruct.HSEState = RCC_HSE_ON;
  RCC_OscInitStruct.LSEState = RCC_LSE_ON;
  RCC_OscInitStruct.PLL.PLLState = RCC_PLL_ON;
  RCC_OscInitStruct.PLL.PLLSource = RCC_PLLSOURCE_HSE;
  RCC_OscInitStruct.PLL.PLLM = 4;
  RCC_OscInitStruct.PLL.PLLN = 168;
  RCC_OscInitStruct.PLL.PLLP = RCC_PLLP_DIV2;
  RCC_OscInitStruct.PLL.PLLQ = 7;
  if (HAL_RCC_OscConfig(&RCC_OscInitStruct) != HAL_OK)
  {
    Error_Handler();
  }
  /**Initializes the CPU, AHB and APB busses clocks
  */
  RCC_ClkInitStruct.ClockType = RCC_CLOCKTYPE_HCLK|RCC_CLOCKTYPE_SYSCLK
                              |RCC_CLOCKTYPE_PCLK1|RCC_CLOCKTYPE_PCLK2;
  RCC_ClkInitStruct.SYSCLKSource = RCC_SYSCLKSOURCE_PLLCLK;
  RCC_ClkInitStruct.AHBCLKDivider = RCC_SYSCLK_DIV1;
  RCC_ClkInitStruct.APB1CLKDivider = RCC_HCLK_DIV4;
  RCC_ClkInitStruct.APB2CLKDivider = RCC_HCLK_DIV2;

  if (HAL_RCC_ClockConfig(&RCC_ClkInitStruct, FLASH_LATENCY_5) != HAL_OK)
  {
    Error_Handler();
  }
  PeriphClkInitStruct.PeriphClockSelection = RCC_PERIPHCLK_RTC;
  PeriphClkInitStruct.RTCClockSelection = RCC_RTCCLKSOURCE_LSE;
  if (HAL_RCCEx_PeriphCLKConfig(&PeriphClkInitStruct) != HAL_OK)
  {
    Error_Handler();
  }
}

/**
  * @brief NVIC Configuration.
  * @retval None
  */
static void MX_NVIC_Init(void)
{
  /* DMA2_Stream1_IRQn interrupt configuration */
  NVIC_SetPriority(DMA2_Stream1_IRQn, NVIC_EncodePriority(NVIC_GetPriorityGrouping(),0, 0));
  NVIC_EnableIRQ(DMA2_Stream1_IRQn);
  /* DMA2_Stream2_IRQn interrupt configuration */
  NVIC_SetPriority(DMA2_Stream2_IRQn, NVIC_EncodePriority(NVIC_GetPriorityGrouping(),0, 0));
  NVIC_EnableIRQ(DMA2_Stream2_IRQn);
  /* TIM3_IRQn interrupt configuration */
  HAL_NVIC_SetPriority(TIM3_IRQn, 0, 0);
  HAL_NVIC_EnableIRQ(TIM3_IRQn);
}

static void MX_RTC_Init(void)
{

  RTC_TimeTypeDef sTime = {0};
  RTC_DateTypeDef sDate = {0};

  /* USER CODE BEGIN RTC_Init 1 */
  hrtc.Instance = RTC;
  if(HAL_RTCEx_BKUPRead(&hrtc, RTC_BKP_DR1) != 0x32F2)
  {

  /* USER CODE END RTC_Init 1 */
  /**Initialize RTC Only
  */
  hrtc.Instance = RTC;
  hrtc.Init.HourFormat = RTC_HOURFORMAT_24;
  hrtc.Init.AsynchPrediv = 127;
  hrtc.Init.SynchPrediv = 255;
  hrtc.Init.OutPut = RTC_OUTPUT_DISABLE;
  hrtc.Init.OutPutPolarity = RTC_OUTPUT_POLARITY_HIGH;
  hrtc.Init.OutPutType = RTC_OUTPUT_TYPE_OPENDRAIN;
  if (HAL_RTC_Init(&hrtc) != HAL_OK)
  {
    Error_Handler();
  }

  /**Initialize RTC and set the Time and Date
  */
  sTime.Hours = 0x0;
  sTime.Minutes = 0x0;
  sTime.Seconds = 0x0;
  sTime.DayLightSaving = RTC_DAYLIGHTSAVING_NONE;
  sTime.StoreOperation = RTC_STOREOPERATION_RESET;
  if (HAL_RTC_SetTime(&hrtc, &sTime, RTC_FORMAT_BCD) != HAL_OK)
  {
    Error_Handler();
  }
  sDate.WeekDay = RTC_WEEKDAY_MONDAY;
  sDate.Month = RTC_MONTH_JANUARY;
  sDate.Date = 0x1;
  sDate.Year = 0x0;

  if (HAL_RTC_SetDate(&hrtc, &sDate, RTC_FORMAT_BCD) != HAL_OK)
  {
    Error_Handler();
  }
  /* USER CODE BEGIN RTC_Init 2 */
  HAL_RTCEx_BKUPWrite(&hrtc,RTC_BKP_DR1,0x32F2);
 }

  /* USER CODE END RTC_Init 2 */

}

static void MX_SPI1_Init(void)
{

  /* SPI1 parameter configuration*/
  hspi1.Instance = SPI1;
  hspi1.Init.Mode = SPI_MODE_MASTER;
  hspi1.Init.Direction = SPI_DIRECTION_2LINES;
  hspi1.Init.DataSize = SPI_DATASIZE_8BIT;
  hspi1.Init.CLKPolarity = SPI_POLARITY_LOW;
  hspi1.Init.CLKPhase = SPI_PHASE_1EDGE;
  hspi1.Init.NSS = SPI_NSS_SOFT;
  hspi1.Init.BaudRatePrescaler = SPI_BAUDRATEPRESCALER_2;
  hspi1.Init.FirstBit = SPI_FIRSTBIT_MSB;
  hspi1.Init.TIMode = SPI_TIMODE_DISABLE;
  hspi1.Init.CRCCalculation = SPI_CRCCALCULATION_DISABLE;
  hspi1.Init.CRCPolynomial = 10;
  if (HAL_SPI_Init(&hspi1) != HAL_OK)
  {
    Error_Handler();
  }

}

static void MX_SPI2_Init(void)
{

  /* SPI2 parameter configuration*/
  hspi2.Instance = SPI2;
  hspi2.Init.Mode = SPI_MODE_MASTER;
  hspi2.Init.Direction = SPI_DIRECTION_2LINES;
  hspi2.Init.DataSize = SPI_DATASIZE_8BIT;
  hspi2.Init.CLKPolarity = SPI_POLARITY_LOW;
  hspi2.Init.CLKPhase = SPI_PHASE_1EDGE;
  hspi2.Init.NSS = SPI_NSS_SOFT;
  hspi2.Init.BaudRatePrescaler = SPI_BAUDRATEPRESCALER_256;
  hspi2.Init.FirstBit = SPI_FIRSTBIT_MSB;
  hspi2.Init.TIMode = SPI_TIMODE_DISABLE;
  hspi2.Init.CRCCalculation = SPI_CRCCALCULATION_DISABLE;
  hspi2.Init.CRCPolynomial = 10;
  if (HAL_SPI_Init(&hspi2) != HAL_OK)
  {
    Error_Handler();
  }

}

static void MX_TIM1_Init(void)
{

  LL_TIM_InitTypeDef TIM_InitStruct = {0};
  LL_TIM_OC_InitTypeDef TIM_OC_InitStruct = {0};
  LL_TIM_BDTR_InitTypeDef TIM_BDTRInitStruct = {0};

  LL_GPIO_InitTypeDef GPIO_InitStruct = {0};

  /* Peripheral clock enable */
  LL_APB2_GRP1_EnableClock(LL_APB2_GRP1_PERIPH_TIM1);

  /* TIM1 DMA Init */

  /* TIM1_CH1 Init */
  LL_DMA_SetChannelSelection(DMA2, LL_DMA_STREAM_1, LL_DMA_CHANNEL_6);

  LL_DMA_SetDataTransferDirection(DMA2, LL_DMA_STREAM_1, LL_DMA_DIRECTION_MEMORY_TO_PERIPH);

  LL_DMA_SetStreamPriorityLevel(DMA2, LL_DMA_STREAM_1, LL_DMA_PRIORITY_HIGH);

  LL_DMA_SetMode(DMA2, LL_DMA_STREAM_1, LL_DMA_MODE_CIRCULAR);

  LL_DMA_SetPeriphIncMode(DMA2, LL_DMA_STREAM_1, LL_DMA_PERIPH_NOINCREMENT);

  LL_DMA_SetMemoryIncMode(DMA2, LL_DMA_STREAM_1, LL_DMA_MEMORY_INCREMENT);

  LL_DMA_SetPeriphSize(DMA2, LL_DMA_STREAM_1, LL_DMA_PDATAALIGN_HALFWORD);

  LL_DMA_SetMemorySize(DMA2, LL_DMA_STREAM_1, LL_DMA_MDATAALIGN_HALFWORD);

  LL_DMA_EnableFifoMode(DMA2, LL_DMA_STREAM_1);

  LL_DMA_SetFIFOThreshold(DMA2, LL_DMA_STREAM_1, LL_DMA_FIFOTHRESHOLD_FULL);

  LL_DMA_SetMemoryBurstxfer(DMA2, LL_DMA_STREAM_1, LL_DMA_MBURST_SINGLE);

  LL_DMA_SetPeriphBurstxfer(DMA2, LL_DMA_STREAM_1, LL_DMA_PBURST_SINGLE);

  /* TIM1_CH2 Init */
  LL_DMA_SetChannelSelection(DMA2, LL_DMA_STREAM_2, LL_DMA_CHANNEL_6);

  LL_DMA_SetDataTransferDirection(DMA2, LL_DMA_STREAM_2, LL_DMA_DIRECTION_MEMORY_TO_PERIPH);

  LL_DMA_SetStreamPriorityLevel(DMA2, LL_DMA_STREAM_2, LL_DMA_PRIORITY_HIGH);

  LL_DMA_SetMode(DMA2, LL_DMA_STREAM_2, LL_DMA_MODE_CIRCULAR);

  LL_DMA_SetPeriphIncMode(DMA2, LL_DMA_STREAM_2, LL_DMA_PERIPH_NOINCREMENT);

  LL_DMA_SetMemoryIncMode(DMA2, LL_DMA_STREAM_2, LL_DMA_MEMORY_INCREMENT);

  LL_DMA_SetPeriphSize(DMA2, LL_DMA_STREAM_2, LL_DMA_PDATAALIGN_HALFWORD);

  LL_DMA_SetMemorySize(DMA2, LL_DMA_STREAM_2, LL_DMA_MDATAALIGN_HALFWORD);

  LL_DMA_EnableFifoMode(DMA2, LL_DMA_STREAM_2);

  LL_DMA_SetFIFOThreshold(DMA2, LL_DMA_STREAM_2, LL_DMA_FIFOTHRESHOLD_FULL);

  LL_DMA_SetMemoryBurstxfer(DMA2, LL_DMA_STREAM_2, LL_DMA_MBURST_SINGLE);

  LL_DMA_SetPeriphBurstxfer(DMA2, LL_DMA_STREAM_2, LL_DMA_PBURST_SINGLE);

  TIM_InitStruct.Prescaler = 0;
  TIM_InitStruct.CounterMode = LL_TIM_COUNTERMODE_UP;
  TIM_InitStruct.Autoreload = 3809;
  TIM_InitStruct.ClockDivision = LL_TIM_CLOCKDIVISION_DIV1;
  TIM_InitStruct.RepetitionCounter = 0;
  LL_TIM_Init(TIM1, &TIM_InitStruct);
  LL_TIM_SetClockSource(TIM1, LL_TIM_CLOCKSOURCE_INTERNAL);
  LL_TIM_OC_EnablePreload(TIM1, LL_TIM_CHANNEL_CH1);
  TIM_OC_InitStruct.OCMode = LL_TIM_OCMODE_PWM1;
  TIM_OC_InitStruct.OCState = LL_TIM_OCSTATE_DISABLE;
  TIM_OC_InitStruct.OCNState = LL_TIM_OCSTATE_DISABLE;
  TIM_OC_InitStruct.CompareValue = 0;
  TIM_OC_InitStruct.OCPolarity = LL_TIM_OCPOLARITY_HIGH;
  TIM_OC_InitStruct.OCNPolarity = LL_TIM_OCPOLARITY_HIGH;
  TIM_OC_InitStruct.OCIdleState = LL_TIM_OCIDLESTATE_LOW;
  TIM_OC_InitStruct.OCNIdleState = LL_TIM_OCIDLESTATE_LOW;
  LL_TIM_OC_Init(TIM1, LL_TIM_CHANNEL_CH1, &TIM_OC_InitStruct);
  LL_TIM_OC_DisableFast(TIM1, LL_TIM_CHANNEL_CH1);
  LL_TIM_OC_EnablePreload(TIM1, LL_TIM_CHANNEL_CH2);
  TIM_OC_InitStruct.OCState = LL_TIM_OCSTATE_DISABLE;
  TIM_OC_InitStruct.OCNState = LL_TIM_OCSTATE_DISABLE;
  LL_TIM_OC_Init(TIM1, LL_TIM_CHANNEL_CH2, &TIM_OC_InitStruct);
  LL_TIM_OC_DisableFast(TIM1, LL_TIM_CHANNEL_CH2);
  LL_TIM_SetTriggerOutput(TIM1, LL_TIM_TRGO_RESET);
  LL_TIM_DisableMasterSlaveMode(TIM1);
  TIM_BDTRInitStruct.OSSRState = LL_TIM_OSSR_DISABLE;
  TIM_BDTRInitStruct.OSSIState = LL_TIM_OSSI_DISABLE;
  TIM_BDTRInitStruct.LockLevel = LL_TIM_LOCKLEVEL_OFF;
  TIM_BDTRInitStruct.DeadTime = 0;
  TIM_BDTRInitStruct.BreakState = LL_TIM_BREAK_DISABLE;
  TIM_BDTRInitStruct.BreakPolarity = LL_TIM_BREAK_POLARITY_HIGH;
  TIM_BDTRInitStruct.AutomaticOutput = LL_TIM_AUTOMATICOUTPUT_DISABLE;
  LL_TIM_BDTR_Init(TIM1, &TIM_BDTRInitStruct);
  LL_AHB1_GRP1_EnableClock(LL_AHB1_GRP1_PERIPH_GPIOA);
  /**TIM1 GPIO Configuration
  PA8   ------> TIM1_CH1
  PA9   ------> TIM1_CH2
  */
  GPIO_InitStruct.Pin = LL_GPIO_PIN_8|LL_GPIO_PIN_9;
  GPIO_InitStruct.Mode = LL_GPIO_MODE_ALTERNATE;
  GPIO_InitStruct.Speed = LL_GPIO_SPEED_FREQ_HIGH;
  GPIO_InitStruct.OutputType = LL_GPIO_OUTPUT_PUSHPULL;
  GPIO_InitStruct.Pull = LL_GPIO_PULL_NO;
  GPIO_InitStruct.Alternate = LL_GPIO_AF_1;
  LL_GPIO_Init(GPIOA, &GPIO_InitStruct);

}

static void MX_TIM3_Init(void)
{

  TIM_ClockConfigTypeDef sClockSourceConfig = {0};
  TIM_MasterConfigTypeDef sMasterConfig = {0};
  TIM_OC_InitTypeDef sConfigOC = {0};

  htim3.Instance = TIM3;
  htim3.Init.Prescaler = 84-1;
  htim3.Init.CounterMode = TIM_COUNTERMODE_UP;
  htim3.Init.Period = 1000-1;
  htim3.Init.ClockDivision = TIM_CLOCKDIVISION_DIV1;
  if (HAL_TIM_Base_Init(&htim3) != HAL_OK)
  {
    Error_Handler();
  }
  sClockSourceConfig.ClockSource = TIM_CLOCKSOURCE_INTERNAL;
  if (HAL_TIM_ConfigClockSource(&htim3, &sClockSourceConfig) != HAL_OK)
  {
    Error_Handler();
  }
  if (HAL_TIM_PWM_Init(&htim3) != HAL_OK)
  {
    Error_Handler();
  }
  sMasterConfig.MasterOutputTrigger = TIM_TRGO_RESET;
  sMasterConfig.MasterSlaveMode = TIM_MASTERSLAVEMODE_DISABLE;
  if (HAL_TIMEx_MasterConfigSynchronization(&htim3, &sMasterConfig) != HAL_OK)
  {
    Error_Handler();
  }
  sConfigOC.OCMode = TIM_OCMODE_PWM1;
  sConfigOC.Pulse = 500-1;
  sConfigOC.OCPolarity = TIM_OCPOLARITY_HIGH;
  sConfigOC.OCFastMode = TIM_OCFAST_DISABLE;
  if (HAL_TIM_PWM_ConfigChannel(&htim3, &sConfigOC, TIM_CHANNEL_4) != HAL_OK)
  {
    Error_Handler();
  }
  HAL_TIM_MspPostInit(&htim3);

}

static void MX_USART2_UART_Init(void)
{

  huart2.Instance = USART2;
  huart2.Init.BaudRate = 115200;
  huart2.Init.WordLength = UART_WORDLENGTH_8B;
  huart2.Init.StopBits = UART_STOPBITS_1;
  huart2.Init.Parity = UART_PARITY_NONE;
  huart2.Init.Mode = UART_MODE_TX_RX;
  huart2.Init.HwFlowCtl = UART_HWCONTROL_NONE;
  huart2.Init.OverSampling = UART_OVERSAMPLING_16;
  if (HAL_UART_Init(&huart2) != HAL_OK)
  {
    Error_Handler();
  }

}

static void MX_DMA_Init(void)
{
  /* DMA controller clock enable */
  __HAL_RCC_DMA2_CLK_ENABLE();

  /* Configure DMA request hdma_memtomem_dma2_stream3 on DMA2_Stream3 */
  hdma_memtomem_dma2_stream3.Instance = DMA2_Stream3;
  hdma_memtomem_dma2_stream3.Init.Channel = DMA_CHANNEL_0;
  hdma_memtomem_dma2_stream3.Init.Direction = DMA_MEMORY_TO_MEMORY;
  hdma_memtomem_dma2_stream3.Init.PeriphInc = DMA_PINC_ENABLE;
  hdma_memtomem_dma2_stream3.Init.MemInc = DMA_MINC_DISABLE;
  hdma_memtomem_dma2_stream3.Init.PeriphDataAlignment = DMA_PDATAALIGN_HALFWORD;
  hdma_memtomem_dma2_stream3.Init.MemDataAlignment = DMA_MDATAALIGN_HALFWORD;
  hdma_memtomem_dma2_stream3.Init.Mode = DMA_NORMAL;
  hdma_memtomem_dma2_stream3.Init.Priority = DMA_PRIORITY_LOW;
  hdma_memtomem_dma2_stream3.Init.FIFOMode = DMA_FIFOMODE_ENABLE;
  hdma_memtomem_dma2_stream3.Init.FIFOThreshold = DMA_FIFO_THRESHOLD_FULL;
  hdma_memtomem_dma2_stream3.Init.MemBurst = DMA_MBURST_SINGLE;
  hdma_memtomem_dma2_stream3.Init.PeriphBurst = DMA_PBURST_SINGLE;
  if (HAL_DMA_Init(&hdma_memtomem_dma2_stream3) != HAL_OK)
  {
    Error_Handler( );
  }

  /* Configure DMA request hdma_memtomem_dma2_stream4 on DMA2_Stream4 */
  hdma_memtomem_dma2_stream4.Instance = DMA2_Stream4;
  hdma_memtomem_dma2_stream4.Init.Channel = DMA_CHANNEL_0;
  hdma_memtomem_dma2_stream4.Init.Direction = DMA_MEMORY_TO_MEMORY;
  hdma_memtomem_dma2_stream4.Init.PeriphInc = DMA_PINC_DISABLE;
  hdma_memtomem_dma2_stream4.Init.MemInc = DMA_MINC_DISABLE;
  hdma_memtomem_dma2_stream4.Init.PeriphDataAlignment = DMA_PDATAALIGN_HALFWORD;
  hdma_memtomem_dma2_stream4.Init.MemDataAlignment = DMA_MDATAALIGN_HALFWORD;
  hdma_memtomem_dma2_stream4.Init.Mode = DMA_NORMAL;
  hdma_memtomem_dma2_stream4.Init.Priority = DMA_PRIORITY_LOW;
  hdma_memtomem_dma2_stream4.Init.FIFOMode = DMA_FIFOMODE_ENABLE;
  hdma_memtomem_dma2_stream4.Init.FIFOThreshold = DMA_FIFO_THRESHOLD_FULL;
  hdma_memtomem_dma2_stream4.Init.MemBurst = DMA_MBURST_SINGLE;
  hdma_memtomem_dma2_stream4.Init.PeriphBurst = DMA_PBURST_SINGLE;
  if (HAL_DMA_Init(&hdma_memtomem_dma2_stream4) != HAL_OK)
  {
    Error_Handler( );
  }

}

static void MX_GPIO_Init(void)
{
  GPIO_InitTypeDef GPIO_InitStruct = {0};

  /* GPIO Ports Clock Enable */
  __HAL_RCC_GPIOE_CLK_ENABLE();
  __HAL_RCC_GPIOC_CLK_ENABLE();
  __HAL_RCC_GPIOH_CLK_ENABLE();
  __HAL_RCC_GPIOA_CLK_ENABLE();
  __HAL_RCC_GPIOB_CLK_ENABLE();
  __HAL_RCC_GPIOD_CLK_ENABLE();

  /*Configure GPIO pin Output Level */
  HAL_GPIO_WritePin(GPIOA, LED1_Pin|LED2_Pin, GPIO_PIN_RESET);

  /*Configure GPIO pin Output Level */
  HAL_GPIO_WritePin(GPIOB, FLASH_CS_Pin|NRF_CE_Pin|NRF_CS_Pin, GPIO_PIN_RESET);

  /*Configure GPIO pin Output Level */
  HAL_GPIO_WritePin(TOUCH_CS_GPIO_Port, TOUCH_CS_Pin, GPIO_PIN_SET);

  /*Configure GPIO pin Output Level */
  HAL_GPIO_WritePin(GPIOC, M_CS_Pin|M_CLK_Pin, GPIO_PIN_RESET);

  /*Configure GPIO pin Output Level */
  HAL_GPIO_WritePin(M_MOSI_GPIO_Port, M_MOSI_Pin, GPIO_PIN_RESET);

  /*Configure GPIO pins : KEY1_Pin KEY0_Pin */
  GPIO_InitStruct.Pin = KEY1_Pin|KEY0_Pin;
  GPIO_InitStruct.Mode = GPIO_MODE_IT_FALLING;
  GPIO_InitStruct.Pull = GPIO_PULLUP;
  HAL_GPIO_Init(GPIOE, &GPIO_InitStruct);

  /*Configure GPIO pin : PIN_WKUP_Pin */
  GPIO_InitStruct.Pin = PIN_WKUP_Pin;
  GPIO_InitStruct.Mode = GPIO_MODE_IT_RISING;
  GPIO_InitStruct.Pull = GPIO_PULLDOWN;
  HAL_GPIO_Init(PIN_WKUP_GPIO_Port, &GPIO_InitStruct);

  /*Configure GPIO pins : LED1_Pin LED2_Pin */
  GPIO_InitStruct.Pin = LED1_Pin|LED2_Pin;
  GPIO_InitStruct.Mode = GPIO_MODE_OUTPUT_OD;
  GPIO_InitStruct.Pull = GPIO_NOPULL;
  GPIO_InitStruct.Speed = GPIO_SPEED_FREQ_LOW;
  HAL_GPIO_Init(GPIOA, &GPIO_InitStruct);

  /*Configure GPIO pin : JY_KEY_Pin */
  GPIO_InitStruct.Pin = JY_KEY_Pin;
  GPIO_InitStruct.Mode = GPIO_MODE_INPUT;
  GPIO_InitStruct.Pull = GPIO_PULLUP;
  HAL_GPIO_Init(JY_KEY_GPIO_Port, &GPIO_InitStruct);

  /*Configure GPIO pin : T_PEN_Pin */
  GPIO_InitStruct.Pin = T_PEN_Pin;
  GPIO_InitStruct.Mode = GPIO_MODE_IT_FALLING;
  GPIO_InitStruct.Pull = GPIO_PULLUP;
  HAL_GPIO_Init(T_PEN_GPIO_Port, &GPIO_InitStruct);

  /*Configure GPIO pins : FLASH_CS_Pin NRF_CE_Pin NRF_CS_Pin */
  GPIO_InitStruct.Pin = FLASH_CS_Pin|NRF_CE_Pin|NRF_CS_Pin;
  GPIO_InitStruct.Mode = GPIO_MODE_OUTPUT_PP;
  GPIO_InitStruct.Pull = GPIO_NOPULL;
  GPIO_InitStruct.Speed = GPIO_SPEED_FREQ_LOW;
  HAL_GPIO_Init(GPIOB, &GPIO_InitStruct);

  /*Configure GPIO pin : TOUCH_CS_Pin */
  GPIO_InitStruct.Pin = TOUCH_CS_Pin;
  GPIO_InitStruct.Mode = GPIO_MODE_OUTPUT_PP;
  GPIO_InitStruct.Pull = GPIO_NOPULL;
  GPIO_InitStruct.Speed = GPIO_SPEED_FREQ_VERY_HIGH;
  HAL_GPIO_Init(TOUCH_CS_GPIO_Port, &GPIO_InitStruct);

  /*Configure GPIO pin : M_MISO_Pin */
  GPIO_InitStruct.Pin = M_MISO_Pin;
  GPIO_InitStruct.Mode = GPIO_MODE_INPUT;
  GPIO_InitStruct.Pull = GPIO_NOPULL;
  HAL_GPIO_Init(M_MISO_GPIO_Port, &GPIO_InitStruct);

  /*Configure GPIO pins : M_CS_Pin M_CLK_Pin */
  GPIO_InitStruct.Pin = M_CS_Pin|M_CLK_Pin;
  GPIO_InitStruct.Mode = GPIO_MODE_OUTPUT_PP;
  GPIO_InitStruct.Pull = GPIO_NOPULL;
  GPIO_InitStruct.Speed = GPIO_SPEED_FREQ_VERY_HIGH;
  HAL_GPIO_Init(GPIOC, &GPIO_InitStruct);

  /*Configure GPIO pin : M_MOSI_Pin */
  GPIO_InitStruct.Pin = M_MOSI_Pin;
  GPIO_InitStruct.Mode = GPIO_MODE_OUTPUT_PP;
  GPIO_InitStruct.Pull = GPIO_NOPULL;
  GPIO_InitStruct.Speed = GPIO_SPEED_FREQ_VERY_HIGH;
  HAL_GPIO_Init(M_MOSI_GPIO_Port, &GPIO_InitStruct);

  /*Configure GPIO pin : NRF_IRQ_Pin */
  GPIO_InitStruct.Pin = NRF_IRQ_Pin;
  GPIO_InitStruct.Mode = GPIO_MODE_IT_FALLING;
  GPIO_InitStruct.Pull = GPIO_PULLUP;
  HAL_GPIO_Init(NRF_IRQ_GPIO_Port, &GPIO_InitStruct);

  /* EXTI interrupt init*/
  HAL_NVIC_SetPriority(EXTI0_IRQn, 0, 0);
  HAL_NVIC_EnableIRQ(EXTI0_IRQn);

  HAL_NVIC_SetPriority(EXTI3_IRQn, 0, 0);
  HAL_NVIC_EnableIRQ(EXTI3_IRQn);

  HAL_NVIC_SetPriority(EXTI4_IRQn, 0, 0);
  HAL_NVIC_EnableIRQ(EXTI4_IRQn);

  HAL_NVIC_SetPriority(EXTI9_5_IRQn, 0, 0);
  HAL_NVIC_EnableIRQ(EXTI9_5_IRQn);

}

/* FSMC initialization function */
static void MX_FSMC_Init(void)
{
  FSMC_NORSRAM_TimingTypeDef Timing;
  FSMC_NORSRAM_TimingTypeDef ExtTiming;

  /** Perform the SRAM1 memory initialization sequence
  */
  hsram1.Instance = FSMC_NORSRAM_DEVICE;
  hsram1.Extended = FSMC_NORSRAM_EXTENDED_DEVICE;
  /* hsram1.Init */
  hsram1.Init.NSBank = FSMC_NORSRAM_BANK1;
  hsram1.Init.DataAddressMux = FSMC_DATA_ADDRESS_MUX_DISABLE;
  hsram1.Init.MemoryType = FSMC_MEMORY_TYPE_SRAM;
  hsram1.Init.MemoryDataWidth = FSMC_NORSRAM_MEM_BUS_WIDTH_16;
  hsram1.Init.BurstAccessMode = FSMC_BURST_ACCESS_MODE_DISABLE;
  hsram1.Init.WaitSignalPolarity = FSMC_WAIT_SIGNAL_POLARITY_LOW;
  hsram1.Init.WrapMode = FSMC_WRAP_MODE_DISABLE;
  hsram1.Init.WaitSignalActive = FSMC_WAIT_TIMING_BEFORE_WS;
  hsram1.Init.WriteOperation = FSMC_WRITE_OPERATION_ENABLE;
  hsram1.Init.WaitSignal = FSMC_WAIT_SIGNAL_DISABLE;
  hsram1.Init.ExtendedMode = FSMC_EXTENDED_MODE_ENABLE;
  hsram1.Init.AsynchronousWait = FSMC_ASYNCHRONOUS_WAIT_DISABLE;
  hsram1.Init.WriteBurst = FSMC_WRITE_BURST_DISABLE;
  hsram1.Init.PageSize = FSMC_PAGE_SIZE_NONE;
  /* Timing */
  Timing.AddressSetupTime = 1;
  Timing.AddressHoldTime = 15;
  Timing.DataSetupTime = 15;
  Timing.BusTurnAroundDuration = 0;
  Timing.CLKDivision = 16;
  Timing.DataLatency = 17;
  Timing.AccessMode = FSMC_ACCESS_MODE_A;
  /* ExtTiming */
  ExtTiming.AddressSetupTime = 2;
  ExtTiming.AddressHoldTime = 15;
  ExtTiming.DataSetupTime = 5;
  ExtTiming.BusTurnAroundDuration = 0;
  ExtTiming.CLKDivision = 16;
  ExtTiming.DataLatency = 17;
  ExtTiming.AccessMode = FSMC_ACCESS_MODE_A;

  if (HAL_SRAM_Init(&hsram1, &Timing, &ExtTiming) != HAL_OK)
  {
    Error_Handler( );
  }

}

void HAL_TIM_PeriodElapsedCallback(TIM_HandleTypeDef *htim)
{
  if (htim->Instance == TIM2) {
    HAL_IncTick();
  }
}

void Error_Handler(void)
{
}

/************************ (C) COPYRIGHT STMicroelectronics *****END OF FILE****/
